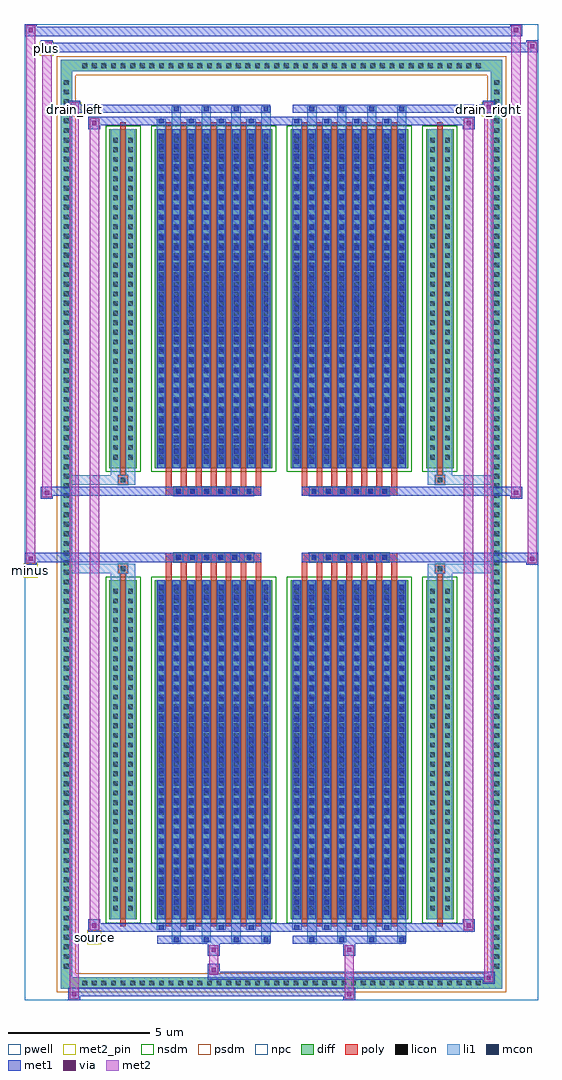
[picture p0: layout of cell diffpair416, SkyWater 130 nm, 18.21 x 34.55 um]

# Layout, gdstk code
import gdstk
lib = gdstk.Library(unit=1e-6, precision=5e-09)
def R(c, l, rs):  # rectangles x0, y0, x1, y1
    for r in rs: c.add(gdstk.rectangle(r[:2], r[2:], *l))
def A(c, l, x, y, w, h, nx, ny, dx, dy):  # array of equal rectangles
    R(c, l, [(x+i*dx, y+j*dy, x+i*dx+w, y+j*dy+h) for i in range(nx) for j in range(ny)])
def P(c, l, *ps):  # polygons
    for p in ps: c.add(gdstk.Polygon(p, *l))
pwell = (64, 44)
diff = (65, 20)
poly = (66, 20)
licon = (66, 44)
li1 = (67, 20)
mcon = (67, 44)
met1 = (68, 20)
via = (68, 44)
met2_pin = (69, 16)
met2 = (69, 20)
nsdm = (93, 44)
psdm = (94, 20)
npc = (95, 20)

diffpair416 = lib.new_cell('diffpair416')
R(diffpair416, pwell, [(-9.09,-16.84,9.09,17.71), (-6.41,-15.03,-0.01,-0.805), (0.01,-15.03,6.41,-0.805), (-6.41,0.805,-0.01,15.03), (0.01,0.805,6.41,15.03)])
A(diffpair416, diff, -7.175, -16.44, 0.41, 0.41, 42, 2, 0.34, 32.47)
A(diffpair416, diff, -7.82, -15.845, 0.41, 0.41, 1, 93, 0, 0.34)
A(diffpair416, diff, 7.41, -15.845, 0.41, 0.41, 1, 93, 0, 0.34)
R(diffpair416, diff, [(-7.175,-16.44,7.175,-16.03), (-7.82,-15.845,-7.41,15.845), (7.41,-15.845,7.82,15.845), (-6.1,-13.985,-5.12,-1.985), (-4.48,-13.985,-0.32,-1.985), (0.32,-13.985,4.48,-1.985), (5.12,-13.985,6.1,-1.985), (-6.1,1.985,-5.12,13.985), (-4.48,1.985,-0.32,13.985), (0.32,1.985,4.48,13.985), (5.12,1.985,6.1,13.985), (-7.175,16.03,7.175,16.44)])
P(diffpair416, diff, [(7.82,16.44),(-7.82,16.44),(-7.82,-16.03),(-7.41,-16.03),(-7.41,16.03),(7.41,16.03),(7.41,-16.03),(-7.41,-16.03),(-7.82,-16.03),(-7.82,-16.44),(7.82,-16.44)])
A(diffpair416, poly, -4.09, -14.235, 0.2, 12.5, 7, 2, 0.53, 15.97)
A(diffpair416, poly, 0.71, -14.235, 0.2, 12.5, 7, 2, 0.53, 15.97)
A(diffpair416, poly, -4.09, -1.735, 0.2, 0.4, 7, 2, 0.53, 3.07)
A(diffpair416, poly, 0.71, -1.735, 0.2, 0.4, 7, 2, 0.53, 3.07)
A(diffpair416, poly, -3.815, -1.335, 0.33, 0.33, 6, 2, 0.5, 2.34)
A(diffpair416, poly, 0.985, -1.335, 0.33, 0.33, 6, 2, 0.5, 2.34)
R(diffpair416, poly, [(-5.71,-14.235,-5.51,-1.735), (5.51,-14.235,5.71,-1.735), (-5.775,-1.735,-5.445,-1.405), (-5.775,-1.735,-5.445,-1.405), (5.445,-1.735,5.775,-1.405), (5.445,-1.735,5.775,-1.405), (-4.09,-1.335,-0.71,-1.005), (0.71,-1.335,4.09,-1.005), (-4.09,1.005,-0.71,1.335), (0.71,1.005,4.09,1.335), (-5.775,1.405,-5.445,1.735), (-5.775,1.405,-5.445,1.735), (5.445,1.405,5.775,1.735), (5.445,1.405,5.775,1.735), (-5.71,1.735,-5.51,14.235), (5.51,1.735,5.71,14.235)])
A(diffpair416, licon, -7.055, -16.32, 0.17, 0.17, 42, 2, 0.34, 32.47)
A(diffpair416, licon, -7.7, -15.725, 0.17, 0.17, 1, 93, 0, 0.34)
A(diffpair416, licon, 7.53, -15.725, 0.17, 0.17, 1, 93, 0, 0.34)
A(diffpair416, licon, -5.96, -13.68, 0.17, 0.17, 1, 34, 0, 0.34)
A(diffpair416, licon, -5.43, -13.68, 0.17, 0.17, 1, 34, 0, 0.34)
A(diffpair416, licon, -4.34, -13.68, 0.17, 0.17, 8, 34, 0.53, 0.34)
A(diffpair416, licon, 0.46, -13.68, 0.17, 0.17, 8, 34, 0.53, 0.34)
A(diffpair416, licon, 5.26, -13.68, 0.17, 0.17, 1, 34, 0, 0.34)
A(diffpair416, licon, 5.79, -13.68, 0.17, 0.17, 1, 34, 0, 0.34)
A(diffpair416, licon, -3.735, -1.255, 0.17, 0.17, 6, 2, 0.5, 2.34)
A(diffpair416, licon, 1.065, -1.255, 0.17, 0.17, 6, 2, 0.5, 2.34)
A(diffpair416, licon, -5.96, 2.29, 0.17, 0.17, 1, 34, 0, 0.34)
A(diffpair416, licon, -5.43, 2.29, 0.17, 0.17, 1, 34, 0, 0.34)
A(diffpair416, licon, -4.34, 2.29, 0.17, 0.17, 8, 34, 0.53, 0.34)
A(diffpair416, licon, 0.46, 2.29, 0.17, 0.17, 8, 34, 0.53, 0.34)
A(diffpair416, licon, 5.26, 2.29, 0.17, 0.17, 1, 34, 0, 0.34)
A(diffpair416, licon, 5.79, 2.29, 0.17, 0.17, 1, 34, 0, 0.34)
R(diffpair416, licon, [(-5.695,-1.655,-5.525,-1.485), (5.525,-1.655,5.695,-1.485), (-5.695,1.485,-5.525,1.655), (5.525,1.485,5.695,1.655)])
A(diffpair416, li1, -7.135, -16.4, 0.33, 0.33, 42, 2, 0.34, 32.47)
A(diffpair416, li1, -7.78, -15.805, 0.33, 0.33, 1, 93, 0, 0.34)
A(diffpair416, li1, 7.45, -15.805, 0.33, 0.33, 1, 93, 0, 0.34)
A(diffpair416, li1, -3.89, -14.79, 0.33, 0.805, 4, 2, 1.06, 28.775)
A(diffpair416, li1, -3.81, -14.79, 0.17, 0.17, 4, 2, 1.06, 29.41)
A(diffpair416, li1, 0.91, -14.79, 0.33, 0.805, 4, 2, 1.06, 28.775)
A(diffpair416, li1, 0.99, -14.79, 0.17, 0.17, 4, 2, 1.06, 29.41)
A(diffpair416, li1, -4.42, -14.36, 0.33, 0.375, 4, 2, 1.06, 28.345)
A(diffpair416, li1, -4.34, -14.36, 0.17, 0.17, 4, 2, 1.06, 28.55)
A(diffpair416, li1, 0.38, -14.36, 0.33, 0.375, 4, 2, 1.06, 28.345)
A(diffpair416, li1, 0.46, -14.36, 0.17, 0.17, 4, 2, 1.06, 28.55)
A(diffpair416, li1, -4.42, -13.985, 0.33, 12, 8, 2, 0.53, 15.97)
A(diffpair416, li1, 0.38, -13.985, 0.33, 12, 8, 2, 0.53, 15.97)
A(diffpair416, li1, -4.34, -13.83, 0.17, 0.17, 8, 33, 0.53, 0.36)
A(diffpair416, li1, -4.34, -13.83, 0.17, 11.69, 8, 2, 0.53, 15.97)
A(diffpair416, li1, 0.46, -13.83, 0.17, 0.17, 8, 33, 0.53, 0.36)
A(diffpair416, li1, 0.46, -13.83, 0.17, 11.69, 8, 2, 0.53, 15.97)
A(diffpair416, li1, -6.04, -13.76, 0.33, 0.33, 1, 34, 0, 0.34)
A(diffpair416, li1, -5.51, -13.76, 0.33, 0.33, 1, 34, 0, 0.34)
A(diffpair416, li1, -4.42, -13.76, 0.33, 0.33, 8, 34, 0.53, 0.34)
A(diffpair416, li1, 0.38, -13.76, 0.33, 0.33, 8, 34, 0.53, 0.34)
A(diffpair416, li1, 5.18, -13.76, 0.33, 0.33, 1, 34, 0, 0.34)
A(diffpair416, li1, 5.71, -13.76, 0.33, 0.33, 1, 34, 0, 0.34)
A(diffpair416, li1, -3.815, -1.335, 0.33, 0.33, 6, 2, 0.5, 2.34)
A(diffpair416, li1, 0.985, -1.335, 0.33, 0.33, 6, 2, 0.5, 2.34)
A(diffpair416, li1, -4.34, 2.14, 0.17, 0.17, 8, 33, 0.53, 0.36)
A(diffpair416, li1, 0.46, 2.14, 0.17, 0.17, 8, 33, 0.53, 0.36)
A(diffpair416, li1, -6.04, 2.21, 0.33, 0.33, 1, 34, 0, 0.34)
A(diffpair416, li1, -5.51, 2.21, 0.33, 0.33, 1, 34, 0, 0.34)
A(diffpair416, li1, -4.42, 2.21, 0.33, 0.33, 8, 34, 0.53, 0.34)
A(diffpair416, li1, 0.38, 2.21, 0.33, 0.33, 8, 34, 0.53, 0.34)
A(diffpair416, li1, 5.18, 2.21, 0.33, 0.33, 1, 34, 0, 0.34)
A(diffpair416, li1, 5.71, 2.21, 0.33, 0.33, 1, 34, 0, 0.34)
R(diffpair416, li1, [(-7.82,-16.44,-7.41,-16.03), (-7.82,-16.44,-7.41,-16.03), (-7.41,-16.44,7.41,-16.03), (7.41,-16.44,7.82,-16.03), (7.41,-16.44,7.82,-16.03), (-7.82,-16.03,-7.41,16.03), (7.41,-16.03,7.82,16.03), (-6.04,-13.985,-5.71,-1.985), (-5.51,-13.985,-5.18,-1.985), (5.18,-13.985,5.51,-1.985), (5.71,-13.985,6.04,-1.985), (-6.04,-1.985,-5.71,-1.405), (-5.51,-1.985,-5.18,-1.405), (5.18,-1.985,5.51,-1.405), (5.71,-1.985,6.04,-1.405), (-7.82,-1.735,-5.775,-1.405), (-6.04,-1.735,-5.775,-1.405), (-5.775,-1.735,-5.445,-1.405), (-5.445,-1.735,-5.18,-1.405), (5.18,-1.735,5.445,-1.405), (5.445,-1.735,5.775,-1.405), (5.445,-1.735,7.82,-1.405), (5.775,-1.735,6.04,-1.405), (-7.82,1.405,-5.775,1.735), (-6.04,1.405,-5.775,1.735), (-6.04,1.405,-5.71,1.985), (-5.775,1.405,-5.445,1.735), (-5.51,1.405,-5.18,1.985), (-5.445,1.405,-5.18,1.735), (5.18,1.405,5.445,1.735), (5.18,1.405,5.51,1.985), (5.445,1.405,5.775,1.735), (5.445,1.405,7.82,1.735), (5.71,1.405,6.04,1.985), (5.775,1.405,6.04,1.735), (-6.04,1.985,-5.71,13.985), (-5.51,1.985,-5.18,13.985), (5.18,1.985,5.51,13.985), (5.71,1.985,6.04,13.985), (-7.82,16.03,-7.41,16.44), (-7.82,16.03,-7.41,16.44), (-7.41,16.03,7.41,16.44), (7.41,16.03,7.82,16.44), (7.41,16.03,7.82,16.44)])
A(diffpair416, mcon, -3.81, -14.79, 0.17, 0.17, 4, 2, 1.06, 29.41)
A(diffpair416, mcon, 0.99, -14.79, 0.17, 0.17, 4, 2, 1.06, 29.41)
A(diffpair416, mcon, -4.34, -14.36, 0.17, 0.17, 4, 2, 1.06, 28.55)
A(diffpair416, mcon, 0.46, -14.36, 0.17, 0.17, 4, 2, 1.06, 28.55)
A(diffpair416, mcon, -4.34, -13.83, 0.17, 0.17, 8, 33, 0.53, 0.36)
A(diffpair416, mcon, 0.46, -13.83, 0.17, 0.17, 8, 33, 0.53, 0.36)
A(diffpair416, mcon, -3.735, -1.255, 0.17, 0.17, 6, 2, 0.5, 2.34)
A(diffpair416, mcon, 1.065, -1.255, 0.17, 0.17, 6, 2, 0.5, 2.34)
A(diffpair416, mcon, -4.34, 2.14, 0.17, 0.17, 8, 33, 0.53, 0.36)
A(diffpair416, mcon, 0.46, 2.14, 0.17, 0.17, 8, 33, 0.53, 0.36)
A(diffpair416, met1, -3.87, -14.85, 0.29, 0.29, 4, 2, 1.06, 29.41)
A(diffpair416, met1, 0.93, -14.85, 0.29, 0.29, 4, 2, 1.06, 29.41)
A(diffpair416, met1, -4.4, -14.42, 0.29, 0.29, 4, 2, 1.06, 28.55)
A(diffpair416, met1, 0.4, -14.42, 0.29, 0.29, 4, 2, 1.06, 28.55)
A(diffpair416, met1, -4.4, -13.985, 0.29, 12, 8, 2, 0.53, 15.97)
A(diffpair416, met1, 0.4, -13.985, 0.29, 12, 8, 2, 0.53, 15.97)
A(diffpair416, met1, -4.4, -13.89, 0.29, 0.29, 8, 33, 0.53, 0.36)
A(diffpair416, met1, 0.4, -13.89, 0.29, 0.29, 8, 33, 0.53, 0.36)
A(diffpair416, met1, -3.795, -1.315, 0.29, 0.29, 6, 2, 0.5, 2.34)
A(diffpair416, met1, 1.005, -1.315, 0.29, 0.29, 6, 2, 0.5, 2.34)
A(diffpair416, met1, -4.4, 2.08, 0.29, 0.29, 8, 33, 0.53, 0.36)
A(diffpair416, met1, 0.4, 2.08, 0.29, 0.29, 8, 33, 0.53, 0.36)
R(diffpair416, met1, [(-7.55,-16.84,-7.12,-16.41), (2.185,-16.84,2.615,-16.41), (-7.55,-16.7,2.615,-16.41), (7.12,-16.27,7.55,-15.84), (-2.615,-16.13,7.55,-15.84), (-2.615,-15.99,-2.185,-15.56), (-2.615,-15.28,-2.185,-14.85), (2.185,-15.28,2.615,-14.85), (-4.4,-14.85,-0.4,-14.56), (0.4,-14.85,4.4,-14.56), (-6.84,-14.42,-6.41,-13.99), (-6.84,-14.42,-4.4,-14.13), (-4.4,-14.42,-0.4,-14.13), (-0.4,-14.42,0.4,-14.13), (0.4,-14.42,4.4,-14.13), (4.4,-14.42,6.84,-14.13), (6.41,-14.42,6.84,-13.99), (-9.09,-1.435,-8.66,-1.005), (8.66,-1.435,9.09,-1.005), (-9.09,-1.335,-0.71,-1.005), (-4.09,-1.335,-0.71,-1.005), (0.71,-1.335,4.09,-1.005), (0.71,-1.335,9.09,-1.005), (-8.52,0.905,-8.09,1.335), (8.09,0.905,8.52,1.335), (-8.52,1.005,-4.09,1.335), (-4.09,1.005,-0.71,1.335), (0.71,1.005,4.09,1.335), (4.09,1.005,8.52,1.335), (-6.84,13.99,-6.41,14.42), (6.41,13.99,6.84,14.42), (-6.84,14.13,-4.4,14.42), (-4.4,14.13,-0.4,14.42), (-0.4,14.13,0.4,14.42), (0.4,14.13,4.4,14.42), (4.4,14.13,6.84,14.42), (-7.55,14.56,-7.12,14.99), (-7.55,14.56,-4.4,14.85), (-4.4,14.56,-0.4,14.85), (0.4,14.56,4.4,14.85), (4.4,14.56,7.55,14.85), (7.12,14.56,7.55,14.99), (-8.52,16.71,-8.09,17.14), (-8.52,16.71,-6.41,17.04), (-6.41,16.71,6.41,17.04), (6.41,16.71,9.09,17.04), (8.66,16.71,9.09,17.14), (-9.09,17.28,-8.66,17.71), (-9.09,17.28,-6.41,17.61), (-6.41,17.28,6.41,17.61), (6.41,17.28,8.52,17.61), (8.09,17.28,8.52,17.71)])
R(diffpair416, via, [(-7.41,-16.7,-7.26,-16.55), (2.325,-16.7,2.475,-16.55), (7.26,-16.13,7.41,-15.98), (-2.475,-15.85,-2.325,-15.7), (-2.475,-15.14,-2.325,-14.99), (2.325,-15.14,2.475,-14.99), (-6.7,-14.28,-6.55,-14.13), (6.55,-14.28,6.7,-14.13), (-8.95,-1.295,-8.8,-1.145), (8.8,-1.295,8.95,-1.145), (-8.38,1.045,-8.23,1.195), (8.23,1.045,8.38,1.195), (-6.7,14.13,-6.55,14.28), (6.55,14.13,6.7,14.28), (-7.41,14.7,-7.26,14.85), (7.26,14.7,7.41,14.85), (-8.38,16.85,-8.23,17), (8.8,16.85,8.95,17), (-8.95,17.42,-8.8,17.57), (8.23,17.42,8.38,17.57)])
R(diffpair416, met2_pin, [(-6.875,-14.87,-6.375,-14.37), (-9.125,-1.885,-8.625,-1.385), (-7.585,14.44,-7.085,14.94), (7.085,14.44,7.585,14.94), (-8.555,16.59,-8.055,17.09)])
R(diffpair416, met2, [(-7.5,-16.79,-7.17,-16.46), (-7.5,-16.79,-7.17,14.94), (2.235,-16.79,2.565,-16.46), (2.235,-16.46,2.565,-15.23), (7.17,-16.22,7.5,-15.89), (7.17,-16.22,7.5,14.94), (-2.565,-15.94,-2.235,-15.61), (-2.565,-15.61,-2.235,-15.23), (-2.565,-15.23,-2.235,-14.9), (2.235,-15.23,2.565,-14.9), (-6.79,-14.37,-6.46,-14.04), (-6.79,-14.37,-6.46,14.37), (6.46,-14.37,6.79,-14.04), (6.46,-14.37,6.79,14.37), (-9.04,-1.385,-8.71,-1.055), (-9.04,-1.385,-8.71,17.66), (8.71,-1.385,9.04,-1.055), (8.71,-1.385,9.04,17.09), (-8.47,0.955,-8.14,1.285), (-8.47,0.955,-8.14,17.09), (8.14,0.955,8.47,1.285), (8.14,0.955,8.47,17.66), (-6.79,14.04,-6.46,14.37), (6.46,14.04,6.79,14.37), (-7.5,14.61,-7.17,14.94), (7.17,14.61,7.5,14.94), (-8.47,16.76,-8.14,17.09), (8.71,16.76,9.04,17.09), (-9.04,17.33,-8.71,17.66), (8.14,17.33,8.47,17.66)])
P(diffpair416, met2, [(9.04,-1.385),(9.04,-1.385),(9.04,-1.055),(9.04,-1.055)],
  [(9.04,16.76),(9.04,16.76),(9.04,17.09),(9.04,17.09)],
  [(-8.71,-1.385),(-8.71,-1.385),(-8.71,-1.055),(-8.71,-1.055)],
  [(-8.71,17.33),(-8.71,17.33),(-8.71,17.66),(-8.71,17.66)],
  [(8.47,0.955),(8.47,0.955),(8.47,1.285),(8.47,1.285)],
  [(8.47,17.33),(8.47,17.33),(8.47,17.66),(8.47,17.66)],
  [(-8.14,0.955),(-8.14,0.955),(-8.14,1.285),(-8.14,1.285)],
  [(-8.14,16.76),(-8.14,16.76),(-8.14,17.09),(-8.14,17.09)],
  [(-7.17,-16.79),(-7.17,-16.79),(-7.17,-16.46),(-7.17,-16.46)],
  [(-7.17,14.61),(-7.17,14.61),(-7.17,14.94),(-7.17,14.94)],
  [(7.5,-16.22),(7.5,-16.22),(7.5,-15.89),(7.5,-15.89)],
  [(7.5,14.61),(7.5,14.61),(7.5,14.94),(7.5,14.94)],
  [(-6.46,-14.37),(-6.46,-14.37),(-6.46,-14.04),(-6.46,-14.04)],
  [(-6.46,14.04),(-6.46,14.04),(-6.46,14.37),(-6.46,14.37)],
  [(6.79,-14.37),(6.79,-14.37),(6.79,-14.04),(6.79,-14.04)],
  [(6.79,14.04),(6.79,14.04),(6.79,14.37),(6.79,14.37)])
R(diffpair416, nsdm, [(-6.23,-14.115,-4.99,-1.855), (-4.61,-14.115,-0.19,-1.855), (0.19,-14.115,4.61,-1.855), (4.99,-14.115,6.23,-1.855), (-6.23,1.855,-4.99,14.115), (-4.61,1.855,-0.19,14.115), (0.19,1.855,4.61,14.115), (4.99,1.855,6.23,14.115)])
P(diffpair416, psdm, [(7.95,16.57),(-7.95,16.57),(-7.95,-15.9),(-7.28,-15.9),(-7.28,15.9),(7.28,15.9),(7.28,-15.9),(-7.28,-15.9),(-7.95,-15.9),(-7.95,-16.57),(7.95,-16.57)])
A(diffpair416, npc, -3.835, -1.355, 0.37, 0.37, 6, 2, 0.5, 2.34)
A(diffpair416, npc, 0.965, -1.355, 0.37, 0.37, 6, 2, 0.5, 2.34)
R(diffpair416, npc, [(-5.795,-1.755,-5.425,-1.385), (5.425,-1.755,5.795,-1.385), (-3.835,-1.355,-2.965,-0.985), (-3.835,-1.355,-2.965,-0.985), (-3.335,-1.355,-2.465,-0.985), (-3.335,-1.355,-2.465,-0.985), (-2.835,-1.355,-1.965,-0.985), (-2.835,-1.355,-1.965,-0.985), (-2.335,-1.355,-1.465,-0.985), (-2.335,-1.355,-1.465,-0.985), (-1.835,-1.355,-0.965,-0.985), (-1.835,-1.355,-0.965,-0.985), (0.965,-1.355,1.835,-0.985), (0.965,-1.355,1.835,-0.985), (1.465,-1.355,2.335,-0.985), (1.465,-1.355,2.335,-0.985), (1.965,-1.355,2.835,-0.985), (1.965,-1.355,2.835,-0.985), (2.465,-1.355,3.335,-0.985), (2.465,-1.355,3.335,-0.985), (2.965,-1.355,3.835,-0.985), (2.965,-1.355,3.835,-0.985), (-3.835,0.985,-2.965,1.355), (-3.835,0.985,-2.965,1.355), (-3.335,0.985,-2.465,1.355), (-3.335,0.985,-2.465,1.355), (-2.835,0.985,-1.965,1.355), (-2.835,0.985,-1.965,1.355), (-2.335,0.985,-1.465,1.355), (-2.335,0.985,-1.465,1.355), (-1.835,0.985,-0.965,1.355), (-1.835,0.985,-0.965,1.355), (0.965,0.985,1.835,1.355), (0.965,0.985,1.835,1.355), (1.465,0.985,2.335,1.355), (1.465,0.985,2.335,1.355), (1.965,0.985,2.835,1.355), (1.965,0.985,2.835,1.355), (2.465,0.985,3.335,1.355), (2.465,0.985,3.335,1.355), (2.965,0.985,3.835,1.355), (2.965,0.985,3.835,1.355), (-5.795,1.385,-5.425,1.755), (5.425,1.385,5.795,1.755)])
diffpair416.add(gdstk.Label('minus', (-8.875,-1.635), layer=69, texttype=5))
diffpair416.add(gdstk.Label('drain_right', (7.335,14.69), layer=69, texttype=5))
diffpair416.add(gdstk.Label('drain_left', (-7.335,14.69), layer=69, texttype=5))
diffpair416.add(gdstk.Label('source', (-6.625,-14.62), layer=69, texttype=5))
diffpair416.add(gdstk.Label('plus', (-8.305,16.84), layer=69, texttype=5))

lib.write_gds('diffpair416.gds')
